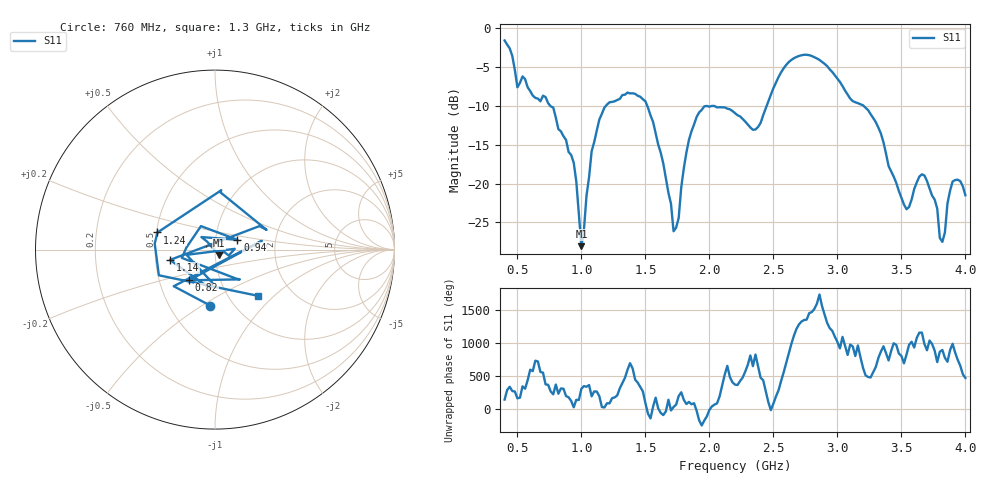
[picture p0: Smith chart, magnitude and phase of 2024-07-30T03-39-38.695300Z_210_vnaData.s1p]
!Created with skrf (http://scikit-rf.org).
# Hz S RI R 50.0
!freq ReS11 ImS11
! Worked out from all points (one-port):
!   181 points, 400 MHz to 4 GHz, reference 50 ohm
!   lowest |S11| = -28.0 dB at 1 GHz (marker M1), VSWR 1.08, Z = 52.3 - j3.33 ohm
!   |S11| at or under -10 dB: 755.8 MHz to 1.192 GHz (436.6 MHz wide, 44.8 % of centre); 1.514 GHz to 2.448 GHz (933.8 MHz wide, 47.1 % of centre); 3.203 GHz to end of sweep
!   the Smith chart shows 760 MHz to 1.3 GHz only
!   S11 on the Smith chart (normalised r, x): 760 MHz: 0.78, -0.54; 820 MHz: 0.71, -0.26; 940 MHz: 1.28, +0.14; 1.14 GHz: 0.60, -0.07; 1.24 GHz: 0.51, +0.11; 1.3 GHz: 1.35, -0.79
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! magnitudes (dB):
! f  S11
! 400 MHz  -1.6
! 500 MHz  -7.6
! 760 MHz  -10.1
! 820 MHz  -13.0
! 860 MHz  -13.9
! 940 MHz  -17.3
! 1 GHz  -28.0
! 1.08 GHz  -15.8
! 1.14 GHz  -11.8
! 1.24 GHz  -9.5
! 1.3 GHz  -9.1
! 1.5 GHz  -9.4
! 1.64 GHz  -17.4
! 1.72 GHz  -26.1
! 1.76 GHz  -24.4
! 1.82 GHz  -16.0
! 1.9 GHz  -11.5
! 2.2 GHz  -11.0
! 2.36 GHz  -13.1
! 2.66 GHz  -3.9
! 2.86 GHz  -4.1
! 3.1 GHz  -9.1
! 3.3 GHz  -12.1
! 3.56 GHz  -23.0
! 3.68 GHz  -19.0
! 3.82 GHz  -27.5
! 3.9 GHz  -19.7
! 4 GHz  -21.5
